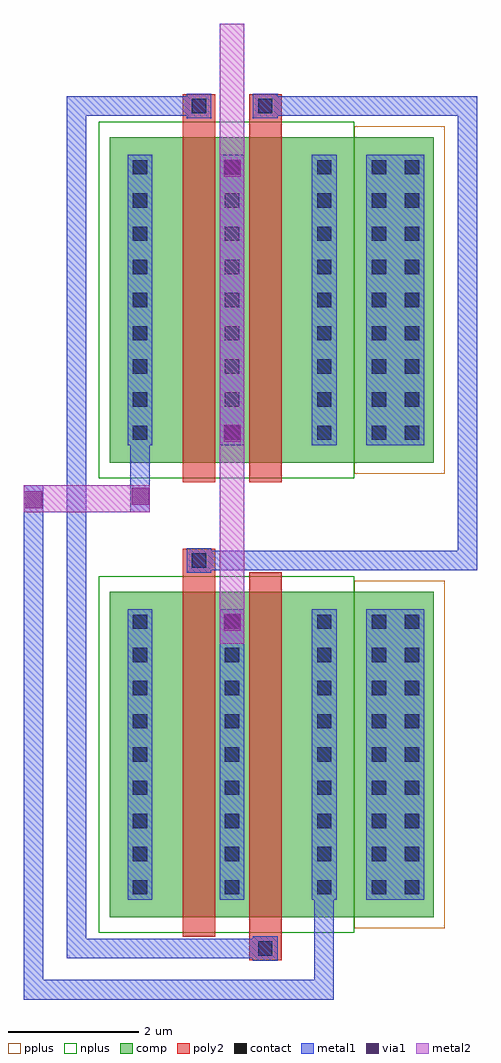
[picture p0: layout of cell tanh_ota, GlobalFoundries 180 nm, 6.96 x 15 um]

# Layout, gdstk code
import gdstk
lib = gdstk.Library(unit=1e-6, precision=5e-09)
def R(c, l, rs):  # rectangles x0, y0, x1, y1
    for r in rs: c.add(gdstk.rectangle(r[:2], r[2:], *l))
def A(c, l, x, y, w, h, nx, ny, dx, dy):  # array of equal rectangles
    R(c, l, [(x+i*dx, y+j*dy, x+i*dx+w, y+j*dy+h) for i in range(nx) for j in range(ny)])
comp = (22, 0)
poly2 = (30, 0)
pplus = (31, 0)
nplus = (32, 0)
contact = (33, 0)
metal1 = (34, 0)
via1 = (35, 0)
metal2 = (36, 0)

nfet = lib.new_cell('nfet')
R(nfet, comp, [(-0.93,0,0,5), (0,0,1.9,5), (1.9,0,2.83,5), (2.83,0,4.05,5)])
R(nfet, poly2, [(0.19,-0.3,0.69,5.3), (1.21,-0.3,1.71,5.3), (0.19,5.3,0.69,5.66), (1.21,5.3,1.71,5.66)])
R(nfet, pplus, [(2.83,-0.17,4.22,5.17)])
R(nfet, nplus, [(-1.1,-0.24,2.83,5.24)])
A(nfet, contact, -0.575, 0.35, 0.22, 0.22, 3, 9, 1.415, 0.51)
A(nfet, contact, 3.095, 0.35, 0.22, 0.22, 1, 9, 0, 0.51)
A(nfet, contact, 3.605, 0.35, 0.22, 0.22, 1, 9, 0, 0.51)
R(nfet, contact, [(0.33,5.37,0.55,5.59), (1.35,5.37,1.57,5.59)])
A(nfet, metal1, -0.655, 0.27, 0.38, 4.46, 3, 1, 1.415, 0)
R(nfet, metal1, [(3.015,0.27,3.905,4.73), (0.25,5.29,0.63,5.67), (1.27,5.29,1.65,5.67)])

nfet_1 = lib.new_cell('nfet$1')
R(nfet_1, comp, [(-0.93,0,0,5), (0,0,1.9,5), (1.9,0,2.83,5), (2.83,0,4.05,5)])
R(nfet_1, poly2, [(0.19,-0.66,0.69,-0.3), (0.19,-0.3,0.69,5.3), (1.21,-0.3,1.71,5.3), (1.21,5.3,1.71,5.66)])
R(nfet_1, pplus, [(2.83,-0.17,4.22,5.17)])
R(nfet_1, nplus, [(-1.1,-0.24,2.83,5.24)])
A(nfet_1, contact, -0.575, 0.35, 0.22, 0.22, 3, 9, 1.415, 0.51)
A(nfet_1, contact, 3.095, 0.35, 0.22, 0.22, 1, 9, 0, 0.51)
A(nfet_1, contact, 3.605, 0.35, 0.22, 0.22, 1, 9, 0, 0.51)
R(nfet_1, contact, [(0.33,-0.59,0.55,-0.37), (1.35,5.37,1.57,5.59)])
A(nfet_1, metal1, -0.655, 0.27, 0.38, 4.46, 3, 1, 1.415, 0)
R(nfet_1, metal1, [(0.25,-0.67,0.63,-0.29), (3.015,0.27,3.905,4.73), (1.27,5.29,1.65,5.67)])

tanh_ota = lib.new_cell('tanh_ota')
R(tanh_ota, via1, [(2.42,5.165,2.68,5.425), (-0.635,7.05,-0.375,7.31), (1,7.105,1.26,7.365), (2.42,8.075,2.68,8.335), (2.42,12.145,2.68,12.405)])
R(tanh_ota, metal2, [(2.355,4.97,2.735,14.5), (-0.655,6.99,1.28,7.4)])
tanh_ota.add(gdstk.FlexPath([(1.845,13.23),(0.155,13.23),(0.155,0.285),(2.865,0.285),(2.865,0.285)], 0.3, ends="flush", simple_path=True, layer=34, datatype=0))  # metal1
tanh_ota.add(gdstk.FlexPath([(3.96,1.035),(3.96,-0.35),(-0.505,-0.35),(-0.505,7.4)], 0.3, ends="flush", simple_path=True, layer=34, datatype=0))  # metal1
tanh_ota.add(gdstk.FlexPath([(1.13,8.02),(1.13,6.99)], 0.3, ends="flush", simple_path=True, layer=34, datatype=0))  # metal1
tanh_ota.add(gdstk.FlexPath([(2.225,6.245),(6.16,6.245),(6.16,13.23),(3.245,13.23),(3.245,13.23)], 0.3, ends="flush", simple_path=True, layer=34, datatype=0))  # metal1
tanh_ota.add(gdstk.Reference(nfet, (1.595,7.75)))
tanh_ota.add(gdstk.Reference(nfet_1, (1.595,5.765), x_reflection=True))

lib.write_gds('tanh_ota.gds')
